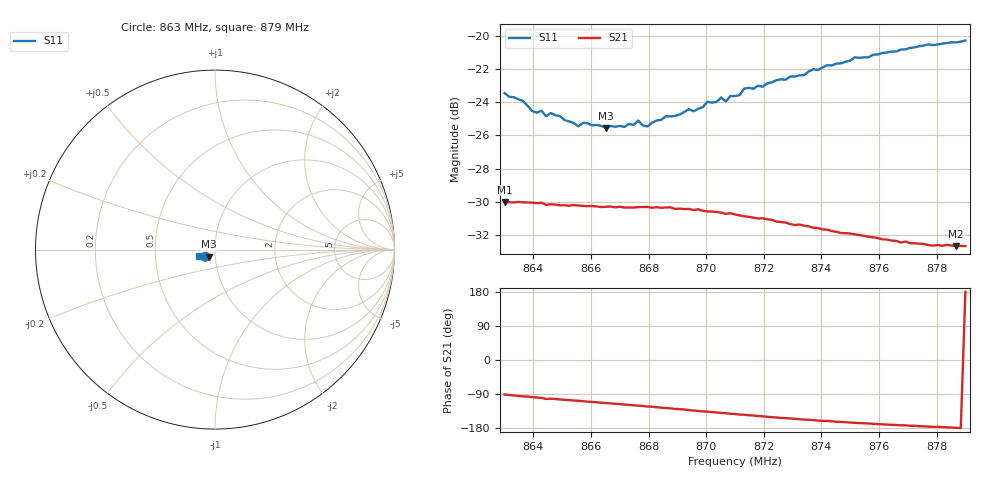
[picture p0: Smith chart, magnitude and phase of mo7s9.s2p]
# HZ S RI R 50
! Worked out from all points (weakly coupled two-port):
!   101 points, 863 MHz to 879 MHz, reference 50 ohm
!   highest |S21| = -30.01 dB at 863 MHz (marker M1); lowest = -32.7 dB at 878.68 MHz (marker M2)
!   lowest |S11| = -25.6 dB at 866.52 MHz (marker M3), VSWR 1.11, Z = 46.4 - j3.58 ohm
!   |S11| at or under -10 dB: start of sweep to end of sweep
!   S12 and S22 are empty: the file has one direction only
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8.63e8  -0.0563 -0.0367  -0.000601 -0.0316  0 0  0 0
8.6364e8  -0.0524 -0.036  -0.00333 -0.0313  0 0  0 0
8.6396e8  -0.0484 -0.0343  -0.00432 -0.0311  0 0  0 0
8.6428e8  -0.0474 -0.036  -0.00546 -0.0309  0 0  0 0
8.6444e8  -0.0465 -0.0334  -0.00688 -0.0301  0 0  0 0
8.646e8  -0.0469 -0.035  -0.0065 -0.0304  0 0  0 0
8.6556e8  -0.0401 -0.0352  -0.00934 -0.0293  0 0  0 0
8.6572e8  -0.0401 -0.0372  -0.00987 -0.0291  0 0  0 0
8.6652e8  -0.036 -0.0385  -0.0123 -0.0279  0 0  0 0
8.6764e8  -0.0352 -0.0429  -0.0155 -0.0263  0 0  0 0
8.6796e8  -0.0335 -0.0416  -0.0166 -0.0256  0 0  0 0
8.6844e8  -0.0337 -0.0446  -0.0177 -0.0246  0 0  0 0
8.6956e8  -0.0349 -0.0479  -0.0205 -0.0217  0 0  0 0
8.7004e8  -0.0366 -0.0517  -0.0214 -0.0204  0 0  0 0
8.7068e8  -0.0366 -0.0518  -0.0224 -0.0185  0 0  0 0
8.71e8  -0.0386 -0.0534  -0.0229 -0.0176  0 0  0 0
8.7132e8  -0.0407 -0.0562  -0.0233 -0.0165  0 0  0 0
8.7196e8  -0.043 -0.0556  -0.0241 -0.0147  0 0  0 0
8.7372e8  -0.0522 -0.0598  -0.0246 -0.00958  0 0  0 0
8.7644e8  -0.0716 -0.0542  -0.0238 -0.0037  0 0  0 0
8.7868e8  -0.0866 -0.0406  -0.0232 -0.000394  0 0  0 0
8.79e8  -0.0892 -0.038  -0.0232 4e-06  0 0  0 0
